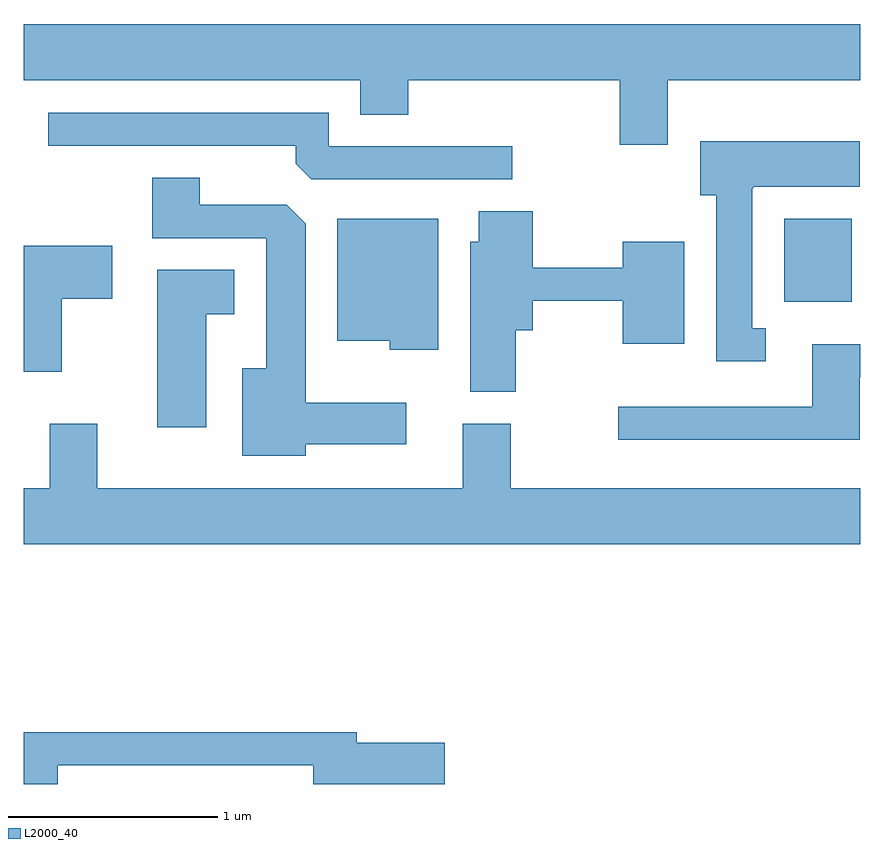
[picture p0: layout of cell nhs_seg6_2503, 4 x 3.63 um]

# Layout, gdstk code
import gdstk
lib = gdstk.Library(unit=1e-6, precision=1e-09)
def R(c, l, rs):  # rectangles x0, y0, x1, y1
    for r in rs: c.add(gdstk.rectangle(r[:2], r[2:], *l))
def P(c, l, *ps):  # polygons
    for p in ps: c.add(gdstk.Polygon(p, *l))
L2000_40 = (2000, 40)

nhs_seg6_2503 = lib.new_cell('nhs_seg6_2503')
R(nhs_seg6_2503, L2000_40, [(265.246,1546.756,265.569,1547.154)])
P(nhs_seg6_2503, L2000_40, [(264.689,1547.816),(265.611,1547.816),(265.611,1548.084),(261.611,1548.084),(261.611,1547.816),(263.221,1547.816),(263.221,1547.651),(263.449,1547.651),(263.449,1547.816),(264.461,1547.816),(264.461,1547.506),(264.689,1547.506)],
  [(263.948,1547.499),(263.069,1547.499),(263.069,1547.659),(261.728,1547.659),(261.728,1547.501),(262.911,1547.501),(262.911,1547.417),(262.987,1547.341),(263.948,1547.341)],
  [(265.158,1546.629),(265.094,1546.629),(265.094,1547.3),(265.1,1547.3),(265.1,1547.306),(265.609,1547.306),(265.609,1547.524),(264.846,1547.524),(264.846,1547.266),(264.921,1547.266),(264.921,1546.471),(265.158,1546.471)],
  [(262.959,1546.076),(263.439,1546.076),(263.439,1546.274),(262.959,1546.274),(262.959,1547.129),(262.869,1547.219),(262.454,1547.219),(262.454,1547.349),(262.226,1547.349),(262.226,1547.061),(262.771,1547.061),(262.771,1546.439),(262.656,1546.439),(262.656,1546.021),(262.959,1546.021)],
  [(263.964,1546.621),(264.044,1546.621),(264.044,1546.761),(264.476,1546.761),(264.476,1546.556),(264.769,1546.556),(264.769,1547.044),(264.476,1547.044),(264.476,1546.919),(264.044,1546.919),(264.044,1547.189),(263.786,1547.189),(263.786,1547.044),(263.746,1547.044),(263.746,1546.326),(263.964,1546.326)],
  [(263.594,1547.154),(263.111,1547.154),(263.111,1546.571),(263.361,1546.571),(263.361,1546.526),(263.594,1546.526)],
  [(261.794,1546.771),(262.034,1546.771),(262.034,1547.024),(261.611,1547.024),(261.611,1546.421),(261.794,1546.421)],
  [(262.484,1546.696),(262.619,1546.696),(262.619,1546.909),(262.251,1546.909),(262.251,1546.156),(262.484,1546.156)],
  [(265.609,1546.396),(265.611,1546.396),(265.611,1546.554),(265.381,1546.554),(265.381,1546.254),(264.453,1546.254),(264.453,1546.096),(265.609,1546.096)],
  [(265.611,1545.864),(263.939,1545.864),(263.939,1546.174),(263.711,1546.174),(263.711,1545.864),(261.964,1545.864),(261.964,1546.174),(261.736,1546.174),(261.736,1545.864),(261.611,1545.864),(261.611,1545.596),(265.611,1545.596)],
  [(261.774,1544.541),(262.996,1544.541),(262.996,1544.451),(263.624,1544.451),(263.624,1544.649),(263.204,1544.649),(263.204,1544.699),(261.611,1544.699),(261.611,1544.451),(261.774,1544.451)])

lib.write_gds('nhs_seg6_2503.gds')
